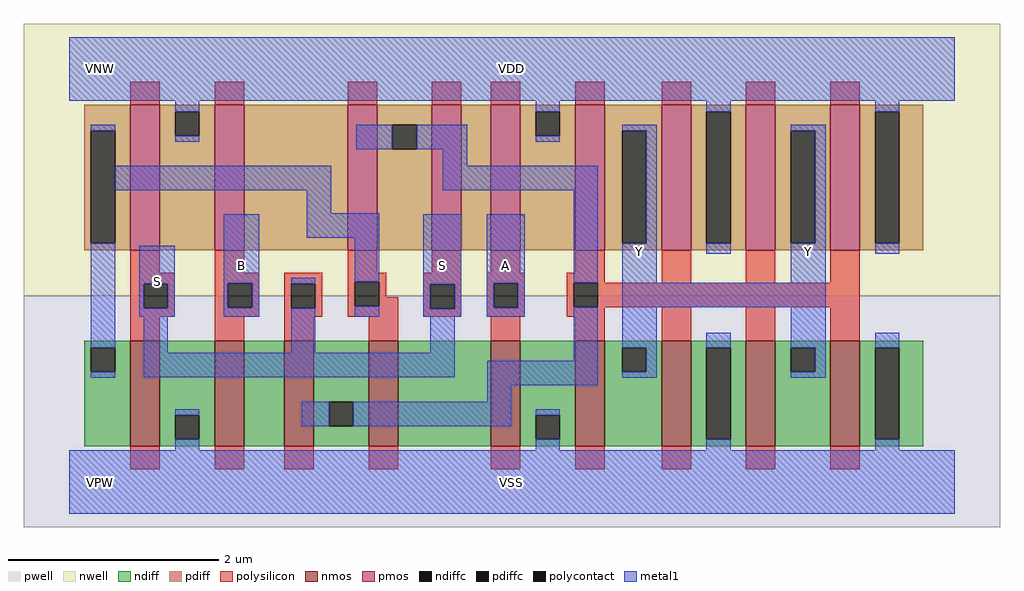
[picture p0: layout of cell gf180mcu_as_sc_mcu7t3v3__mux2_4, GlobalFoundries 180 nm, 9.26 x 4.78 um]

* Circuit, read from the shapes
.subckt gf180mcu_as_sc_mcu7t3v3__mux2_4 VDD VNW VPW VSS S B A Y
XM1 VSS S n1 VPW nfet_03v3 w=1u l=0.28u
XM2 n2 B VSS VPW nfet_03v3 w=1u l=0.28u
XM3 n3 S n2 VPW nfet_03v3 w=1u l=0.28u
XM4 n4 n1 n3 VPW nfet_03v3 w=1u l=0.28u
XM5 VSS A n4 VPW nfet_03v3 w=1u l=0.28u
XM6 Y n3 VSS VPW nfet_03v3 w=1u l=0.28u m=4
XM7 VDD S n1 VNW pfet_03v3 w=1.38u l=0.28u
XM8 n5 B VDD VNW pfet_03v3 w=1.38u l=0.28u
XM9 n3 n1 n5 VNW pfet_03v3 w=1.38u l=0.28u
XM10 n6 S n3 VNW pfet_03v3 w=1.38u l=0.28u
XM11 VDD A n6 VNW pfet_03v3 w=1.38u l=0.28u
XM12 Y n3 VDD VNW pfet_03v3 w=1.38u l=0.28u m=4
.ends

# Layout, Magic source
magic
tech gf180mcuD
magscale 1 10
<< nwell >>
rect -86 354 1766 870
<< pwell >>
rect -86 -86 1766 354
<< nmos >>
rect 116 68 172 268
rect 276 68 332 268
rect 408 68 464 268
rect 568 68 624 268
rect 800 68 856 268
rect 960 68 1016 268
rect 1124 68 1180 268
rect 1284 68 1340 268
rect 1444 68 1500 268
<< pmos >>
rect 116 440 172 716
rect 276 440 332 716
rect 528 440 584 716
rect 688 440 744 716
rect 800 440 856 716
rect 960 440 1016 716
rect 1124 440 1180 716
rect 1284 440 1340 716
rect 1444 440 1500 716
<< ndiff >>
rect 28 255 116 268
rect 28 209 41 255
rect 87 209 116 255
rect 28 68 116 209
rect 172 127 276 268
rect 172 81 201 127
rect 247 81 276 127
rect 172 68 276 81
rect 332 68 408 268
rect 464 152 568 268
rect 464 106 493 152
rect 539 106 568 152
rect 464 68 568 106
rect 624 68 800 268
rect 856 127 960 268
rect 856 81 885 127
rect 931 81 960 127
rect 856 68 960 81
rect 1016 255 1124 268
rect 1016 209 1049 255
rect 1095 209 1124 255
rect 1016 68 1124 209
rect 1180 255 1284 268
rect 1180 81 1209 255
rect 1255 81 1284 255
rect 1180 68 1284 81
rect 1340 255 1444 268
rect 1340 209 1369 255
rect 1415 209 1444 255
rect 1340 68 1444 209
rect 1500 255 1620 268
rect 1500 81 1529 255
rect 1575 81 1620 255
rect 1500 68 1620 81
<< pdiff >>
rect 28 667 116 716
rect 28 453 41 667
rect 87 453 116 667
rect 28 440 116 453
rect 172 703 276 716
rect 172 657 201 703
rect 247 657 276 703
rect 172 440 276 657
rect 332 440 528 716
rect 584 678 688 716
rect 584 632 613 678
rect 659 632 688 678
rect 584 440 688 632
rect 744 440 800 716
rect 856 703 960 716
rect 856 657 885 703
rect 931 657 960 703
rect 856 440 960 657
rect 1016 667 1124 716
rect 1016 453 1049 667
rect 1095 453 1124 667
rect 1016 440 1124 453
rect 1180 703 1284 716
rect 1180 453 1209 703
rect 1255 453 1284 703
rect 1180 440 1284 453
rect 1340 667 1444 716
rect 1340 453 1369 667
rect 1415 453 1444 667
rect 1340 440 1444 453
rect 1500 703 1620 716
rect 1500 453 1529 703
rect 1575 453 1620 703
rect 1500 440 1620 453
<< ndiffc >>
rect 41 209 87 255
rect 201 81 247 127
rect 493 106 539 152
rect 885 81 931 127
rect 1049 209 1095 255
rect 1209 81 1255 255
rect 1369 209 1415 255
rect 1529 81 1575 255
<< pdiffc >>
rect 41 453 87 667
rect 201 657 247 703
rect 613 632 659 678
rect 885 657 931 703
rect 1049 453 1095 667
rect 1209 453 1255 703
rect 1369 453 1415 667
rect 1529 453 1575 703
<< polysilicon >>
rect 116 716 172 760
rect 276 716 332 760
rect 528 716 584 760
rect 688 716 744 760
rect 800 716 856 760
rect 960 716 1016 760
rect 1124 716 1180 760
rect 1284 716 1340 760
rect 1444 716 1500 760
rect 116 397 172 440
rect 276 397 332 440
rect 528 397 584 440
rect 688 397 744 440
rect 800 397 856 440
rect 960 397 1016 440
rect 116 376 200 397
rect 116 330 141 376
rect 187 330 200 376
rect 116 314 200 330
rect 276 377 360 397
rect 276 331 301 377
rect 347 331 360 377
rect 276 314 360 331
rect 408 376 480 397
rect 408 330 421 376
rect 467 330 480 376
rect 408 314 480 330
rect 528 380 601 397
rect 528 334 542 380
rect 588 351 601 380
rect 672 375 744 397
rect 588 334 624 351
rect 528 314 624 334
rect 672 329 685 375
rect 731 329 744 375
rect 672 314 744 329
rect 792 377 864 397
rect 792 331 805 377
rect 851 331 864 377
rect 792 314 864 331
rect 944 378 1016 397
rect 1124 378 1180 440
rect 1284 378 1340 440
rect 1444 378 1500 440
rect 944 332 957 378
rect 1003 332 1500 378
rect 944 314 1016 332
rect 116 268 172 314
rect 276 268 332 314
rect 408 268 464 314
rect 568 268 624 314
rect 800 268 856 314
rect 960 268 1016 314
rect 1124 268 1180 332
rect 1284 268 1340 332
rect 1444 268 1500 332
rect 116 24 172 68
rect 276 24 332 68
rect 408 24 464 68
rect 568 24 624 68
rect 800 24 856 68
rect 960 24 1016 68
rect 1124 24 1180 68
rect 1284 24 1340 68
rect 1444 24 1500 68
<< polycontact >>
rect 141 330 187 376
rect 301 331 347 377
rect 421 330 467 376
rect 542 334 588 380
rect 685 329 731 375
rect 805 331 851 377
rect 957 332 1003 378
<< metal1 >>
rect 0 724 1680 844
rect 201 703 247 724
rect 41 667 87 678
rect 885 703 931 724
rect 201 646 247 657
rect 544 632 613 678
rect 659 632 755 678
rect 1209 703 1255 724
rect 885 646 931 657
rect 1049 667 1115 678
rect 709 600 755 632
rect 87 554 497 600
rect 709 554 1003 600
rect 451 510 497 554
rect 41 255 87 453
rect 133 376 200 448
rect 133 330 141 376
rect 187 330 200 376
rect 133 314 200 330
rect 293 377 360 508
rect 451 464 588 510
rect 293 331 301 377
rect 347 331 360 377
rect 293 314 360 331
rect 421 376 467 388
rect 41 198 87 209
rect 141 245 187 314
rect 421 245 467 330
rect 542 380 588 464
rect 542 314 588 334
rect 672 375 744 508
rect 672 329 685 375
rect 731 329 744 375
rect 672 314 744 329
rect 792 377 864 508
rect 792 331 805 377
rect 851 331 864 377
rect 792 314 864 331
rect 957 378 1003 554
rect 685 245 731 314
rect 141 199 731 245
rect 957 230 1003 332
rect 793 184 1003 230
rect 1095 453 1115 667
rect 1049 378 1115 453
rect 1529 703 1575 724
rect 1209 433 1255 453
rect 1369 667 1435 678
rect 1415 453 1435 667
rect 1369 378 1435 453
rect 1529 433 1575 453
rect 1049 332 1435 378
rect 1049 255 1115 332
rect 1095 209 1115 255
rect 1049 198 1115 209
rect 1209 255 1255 283
rect 793 152 839 184
rect 201 127 247 138
rect 441 106 493 152
rect 539 106 839 152
rect 885 127 931 138
rect 201 60 247 81
rect 885 60 931 81
rect 1369 255 1435 332
rect 1415 209 1435 255
rect 1369 198 1435 209
rect 1529 255 1575 283
rect 1209 60 1255 81
rect 1529 60 1575 81
rect 0 -60 1680 60
<< labels >>
flabel metal1 s 0 724 1680 844 0 FreeSans 400 0 0 0 VDD
port 1 nsew power bidirectional abutment
flabel metal1 s 0 -60 1680 60 0 FreeSans 400 0 0 0 VSS
port 4 nsew ground bidirectional abutment
flabel nwell s 10 734 110 834 0 FreeSans 400 0 0 0 VNW
port 2 nsew power bidirectional
flabel pwell s 10 -50 110 50 0 FreeSans 400 0 0 0 VPW
port 3 nsew ground bidirectional
flabel metal1 133 314 200 448 0 FreeSans 200 0 0 0 S
port 5 nsew signal input
flabel metal1 293 314 360 508 0 FreeSans 200 0 0 0 B
port 6 nsew signal input
flabel metal1 792 314 864 508 0 FreeSans 200 0 0 0 A
port 7 nsew signal input
flabel metal1 672 314 744 508 0 FreeSans 200 0 0 0 S
port 5 nsew signal input
flabel metal1 1049 198 1115 678 0 FreeSans 200 0 0 0 Y
port 8 nsew signal output
flabel metal1 1369 198 1435 678 0 FreeSans 200 0 0 0 Y
port 8 nsew signal output
<< properties >>
string FIXED_BBOX 0 0 1680 784
string LEFclass CORE
string LEFsite unithd
string LEFsymmetry X Y
string MASKHINTS_NPLUS -16 -46 1696 354
string MASKHINTS_PPLUS -16 354 1696 830
<< end >>
